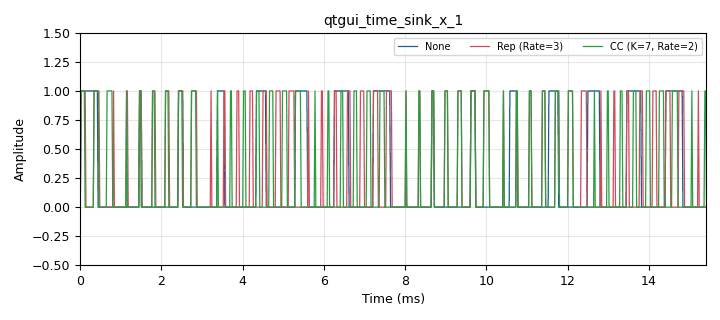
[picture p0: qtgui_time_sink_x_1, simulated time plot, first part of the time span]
options:
  parameters:
    category: Custom
    generate_options: qt_gui
    id: fecapi_tagged_decoders
    output_language: python
  states: {}

blocks:
- name: dec_cc
  id: variable_cc_decoder_def
  parameters:
    dim1: '1'
    framebits: MTU*8
    k: k
    mode: fec.CC_TERMINATED
    ndim: '1'
    padding: 'True'
    polys: polys
    rate: rate
    state_end: '-1'
    state_start: '0'
  states: {}
- name: dec_dummy
  id: variable_dummy_decoder_def
  parameters:
    dim1: '1'
    framebits: MTU*8
    ndim: '1'
  states: {}
- name: dec_rep
  id: variable_repetition_decoder_def
  parameters:
    dim1: '1'
    framebits: MTU*8
    ndim: '1'
    prob: '0.5'
    rep: rep
  states: {}
- name: enc_cc
  id: variable_cc_encoder_def
  parameters:
    framebits: MTU*8
    k: k
    mode: fec.CC_TERMINATED
    ndim: '0'
    padding: 'True'
    polys: polys
    rate: rate
    state_start: '0'
  states: {}
- name: enc_dummy
  id: variable_repetition_encoder_def
  parameters:
    dim1: '1'
    framebits: MTU*8
    ndim: '1'
    rep: '3'
  states: {}
- name: enc_rep
  id: variable_repetition_encoder_def
  parameters:
    dim1: '1'
    framebits: MTU*8
    ndim: '1'
    rep: rep
  states: {}
- name: k
  id: variable
  parameters:
    value: '7'
  states: {}
- name: length_tag
  id: variable
  parameters:
    value: '"packet_len"'
  states: {}
- name: polys
  id: variable
  parameters:
    value: '[109, 79]'
  states: {}
- name: rate
  id: variable
  parameters:
    value: '2'
  states: {}
- name: rep
  id: variable
  parameters:
    value: '3'
  states: {}
- name: samp_rate
  id: variable
  parameters:
    value: '50000'
  states: {}
- name: MTU
  id: parameter
  parameters:
    label: MTU
    type: intx
    value: '1500'
  states: {}
- name: analog_random_source_x_0
  id: analog_random_source_x
  parameters:
    max: '256'
    min: '0'
    num_samps: '1000'
    repeat: 'True'
    type: byte
  states: {state: disabled}
- name: blocks_char_to_float_1
  id: blocks_char_to_float
  parameters:
    scale: '1'
  states: {}
- name: blocks_char_to_float_1_0
  id: blocks_char_to_float
  parameters:
    scale: '1'
  states: {}
- name: blocks_char_to_float_1_0_0
  id: blocks_char_to_float
  parameters:
    scale: '1'
  states: {}
- name: blocks_char_to_float_1_0_1
  id: blocks_char_to_float
  parameters:
    scale: '1'
  states: {}
- name: blocks_char_to_float_1_1
  id: blocks_char_to_float
  parameters:
    scale: '1'
  states: {}
- name: blocks_char_to_float_1_2
  id: blocks_char_to_float
  parameters:
    scale: '1'
  states: {}
- name: blocks_ctrlport_monitor_performance_0
  id: blocks_ctrlport_monitor_performance
  parameters:
    en: 'True'
  states: {state: disabled}
- name: blocks_repack_bits_bb_0
  id: blocks_repack_bits_bb
  parameters:
    endianness: gr.GR_LSB_FIRST
    k: '8'
    l: '1'
    len_tag_key: packet_len
  states: {}
- name: blocks_stream_to_tagged_stream_0_0_0
  id: blocks_stream_to_tagged_stream
  parameters:
    len_tag_key: length_tag
    packet_len: frame_size
    type: byte
  states: {}
- name: blocks_throttle_0
  id: blocks_throttle
  parameters:
    samples_per_second: samp_rate
    type: byte
  states: {}
- name: blocks_vector_source_x_0_1_0
  id: blocks_vector_source_x
  parameters:
    repeat: 'True'
    type: byte
    vector: 4*[0, 0, 1, 0, 3, 0, 7, 0, 15, 0, 31, 0, 63, 0, 127]
  states: {}
- name: digital_map_bb_0
  id: digital_map_bb
  parameters:
    map: '[-1, 1]'
  states: {}
- name: digital_map_bb_0_0
  id: digital_map_bb
  parameters:
    map: '[-1, 1]'
  states: {}
- name: digital_map_bb_0_1
  id: digital_map_bb
  parameters:
    map: '[-1, 1]'
  states: {}
- name: fec_extended_tagged_decoder_0
  id: fec_extended_tagged_decoder
  parameters:
    decoder_list: dec_dummy
    lentagname: length_tag
    mtu: MTU
    puncpat: puncpat
  states: {}
- name: fec_extended_tagged_decoder_1
  id: fec_extended_tagged_decoder
  parameters:
    decoder_list: dec_rep
    lentagname: None
    mtu: '1500'
    puncpat: '''11'''
  states: {}
- name: fec_extended_tagged_decoder_2
  id: fec_extended_tagged_decoder
  parameters:
    decoder_list: dec_cc
    lentagname: length_tag
    mtu: MTU
    puncpat: puncpat
  states: {}
- name: fec_extended_tagged_encoder_0
  id: fec_extended_tagged_encoder
  parameters:
    encoder_list: enc_dummy
    lentagname: length_tag
    mtu: MTU
    puncpat: puncpat
  states: {}
- name: fec_extended_tagged_encoder_0_0
  id: fec_extended_tagged_encoder
  parameters:
    encoder_list: enc_rep
    lentagname: length_tag
    mtu: MTU
    puncpat: puncpat
  states: {}
- name: fec_extended_tagged_encoder_0_1
  id: fec_extended_tagged_encoder
  parameters:
    encoder_list: enc_cc
    lentagname: length_tag
    mtu: MTU
    puncpat: '''11'''
  states: {}
- name: frame_size
  id: parameter
  parameters:
    label: Frame Size
    type: intx
    value: '30'
  states: {}
- name: puncpat
  id: parameter
  parameters:
    value: '''11'''
  states: {}
- name: qtgui_time_sink_x_1
  id: qtgui_time_sink_x
  parameters:
    label1: None
    label2: Rep (Rate=3)
    label3: CC (K=7, Rate=2)
    name: ''
    nconnections: '3'
    size: '2000'
    srate: samp_rate
    tr_level: '0.1'
    tr_mode: qtgui.TRIG_MODE_NORM
    type: float
    update_time: '0.01'
    ymax: '1.5'
    ymin: '-0.5'
  states: {}

connections:
- [analog_random_source_x_0, '0', blocks_throttle_0, '0']
- [blocks_char_to_float_1, '0', fec_extended_tagged_decoder_1, '0']
- [blocks_char_to_float_1_0, '0', qtgui_time_sink_x_1, '1']
- [blocks_char_to_float_1_0_0, '0', qtgui_time_sink_x_1, '2']
- [blocks_char_to_float_1_0_1, '0', qtgui_time_sink_x_1, '0']
- [blocks_char_to_float_1_1, '0', fec_extended_tagged_decoder_2, '0']
- [blocks_char_to_float_1_2, '0', fec_extended_tagged_decoder_0, '0']
- [blocks_repack_bits_bb_0, '0', fec_extended_tagged_encoder_0, '0']
- [blocks_repack_bits_bb_0, '0', fec_extended_tagged_encoder_0_0, '0']
- [blocks_repack_bits_bb_0, '0', fec_extended_tagged_encoder_0_1, '0']
- [blocks_stream_to_tagged_stream_0_0_0, '0', blocks_repack_bits_bb_0, '0']
- [blocks_throttle_0, '0', blocks_stream_to_tagged_stream_0_0_0, '0']
- [blocks_vector_source_x_0_1_0, '0', blocks_throttle_0, '0']
- [digital_map_bb_0, '0', blocks_char_to_float_1, '0']
- [digital_map_bb_0_0, '0', blocks_char_to_float_1_1, '0']
- [digital_map_bb_0_1, '0', blocks_char_to_float_1_2, '0']
- [fec_extended_tagged_decoder_0, '0', blocks_char_to_float_1_0_1, '0']
- [fec_extended_tagged_decoder_1, '0', blocks_char_to_float_1_0, '0']
- [fec_extended_tagged_decoder_2, '0', blocks_char_to_float_1_0_0, '0']
- [fec_extended_tagged_encoder_0, '0', digital_map_bb_0_1, '0']
- [fec_extended_tagged_encoder_0_0, '0', digital_map_bb_0, '0']
- [fec_extended_tagged_encoder_0_1, '0', digital_map_bb_0_0, '0']

metadata:
  file_format: 1
